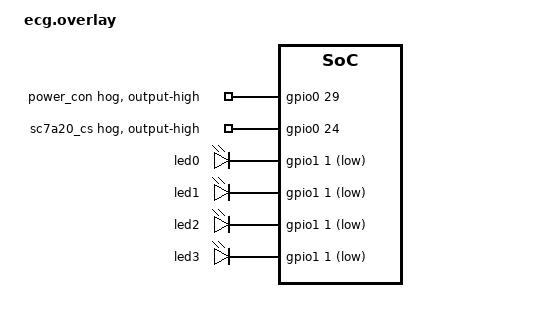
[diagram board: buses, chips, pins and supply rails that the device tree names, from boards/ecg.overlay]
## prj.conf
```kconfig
CONFIG_STDOUT_CONSOLE=y
CONFIG_FLASH=y
CONFIG_SPI=y

CONFIG_STDOUT_CONSOLE=y
CONFIG_I2C=y
CONFIG_GPIO=y
CONFIG_SENSOR=y
CONFIG_SENSOR_LOG_LEVEL_DBG=y

CONFIG_CLOCK_CONTROL_NRF_K32SRC_RC=y
# CONFIG_BT=y
#Logging
CONFIG_LOG=y
CONFIG_LOG_MODE_DEFERRED=y
CONFIG_LOG_RUNTIME_FILTERING=y
CONFIG_LOG_BUFFER_SIZE=2048
CONFIG_LOG_PROCESS_TRIGGER_THRESHOLD=0
CONFIG_LOG_PRINTK=y
CONFIG_LOG_TAG_MAX_LEN=8
CONFIG_GPIO_HOGS=y
CONFIG_GPIO_INIT_PRIORITY=38
CONFIG_GPIO_HOGS_INIT_PRIORITY=39

# CONFIG_FLASH_JESD216_API=y
```

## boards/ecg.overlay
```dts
&qspi_default {
	group1 {
		psels = <NRF_PSEL(QSPI_SCK, 0, 14)>,
				<NRF_PSEL(QSPI_IO0, 0, 15)>,
				<NRF_PSEL(QSPI_IO1, 0, 16)>,
				<NRF_PSEL(QSPI_IO2, 0, 19)>,
				<NRF_PSEL(QSPI_IO3, 0, 17)>,
				<NRF_PSEL(QSPI_CSN, 0, 13)>;
		nordic,drive-mode = <NRF_DRIVE_H0H1>;
	};
};
/delete-node/ &{/pin-controller/pwm0_sleep/group1/};

&qspi_sleep {
	group1 {
		psels = <NRF_PSEL(QSPI_SCK, 0, 14)>,
				<NRF_PSEL(QSPI_IO0, 0, 15)>,
				<NRF_PSEL(QSPI_IO1, 0, 16)>,
				<NRF_PSEL(QSPI_IO2, 0, 19)>,
				<NRF_PSEL(QSPI_IO3, 0, 17)>;
	};

	group2 {
		psels = <NRF_PSEL(QSPI_CSN, 0, 13)>;
	};
};

&gpio0 {
	status = "okay";
	power_con {
		gpio-hog;
		gpios = <29 GPIO_ACTIVE_HIGH>;
		output-high;
	};
	sc7a20_cs {
		gpio-hog;
		gpios = <24 GPIO_ACTIVE_HIGH>;
		output-high;
	};
};
&led0 {
	gpios = <&gpio1 1 GPIO_ACTIVE_LOW>;
};

&led1 {
	gpios = <&gpio1 1 GPIO_ACTIVE_LOW>;
};

&led2 {
	gpios = <&gpio1 1 GPIO_ACTIVE_LOW>;
};

&led3 {
	gpios = <&gpio1 1 GPIO_ACTIVE_LOW>;
};

&spi3_default {
	group1 {
		psels = <NRF_PSEL(SPIM_SCK, 1, 3)>,
				<NRF_PSEL(SPIM_MISO, 1, 4)>,
				<NRF_PSEL(SPIM_MOSI, 1, 2)>;
	};
};

&mx25r64 {
	address-size-32;
};

&mx25r64 {
	/delete-property/ address-size-32;
};

&mx25r64 {
	ppsize-512;
};

&mx25r64 {
	/delete-property/ ppsize-512;
};

&mx25r64 {
	cpha;
};

&mx25r64 {
	cpol;
};

&mx25r64 {
	address-size-32;
};

&mx25r64 {
	size = <5>;
};

&mx25r64 {
	size = <53>;
};

&mx25r64 {
	size = <536>;
};

&mx25r64 {
	size = <5368>;
};

&mx25r64 {
	size = <53687>;
};

&mx25r64 {
	size = <536870>;
};

&mx25r64 {
	size = <5368709>;
};

&mx25r64 {
	size = <53687091>;
};

&mx25r64 {
	size = <536870912>;
};
```

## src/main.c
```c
/*
 * Copyright (c) 2016 Intel Corporation.
 *
 * SPDX-License-Identifier: Apache-2.0
 */

#include <zephyr/kernel.h>
#include <zephyr/drivers/flash.h>
#include <zephyr/device.h>
#include <zephyr/devicetree.h>
#include <stdio.h>
#include <string.h>
#include <hal/nrf_gpio.h>
#include <hal/nrf_qspi.h>
// #include <drivers/flash/nrf_qspi_nor.h>
#if defined(CONFIG_BOARD_ADAFRUIT_FEATHER_STM32F405)
#define SPI_FLASH_TEST_REGION_OFFSET 0xf000
#elif defined(CONFIG_BOARD_ARTY_A7_DESIGNSTART_FPGA_CORTEX_M1) || \
	defined(CONFIG_BOARD_ARTY_A7_DESIGNSTART_FPGA_CORTEX_M3)
/* The FPGA bitstream is stored in the lower 536 sectors of the flash. */
#define SPI_FLASH_TEST_REGION_OFFSET \
	DT_REG_SIZE(DT_NODE_BY_FIXED_PARTITION_LABEL(fpga_bitstream))
#elif defined(CONFIG_BOARD_NPCX9M6F_EVB) || \
	defined(CONFIG_BOARD_NPCX7M6FB_EVB)
#define SPI_FLASH_TEST_REGION_OFFSET 0x7F000
#else
#define SPI_FLASH_TEST_REGION_OFFSET 0xff000
#endif
#define SPI_FLASH_SECTOR_SIZE        4096

#if defined(CONFIG_FLASH_STM32_OSPI) || defined(CONFIG_FLASH_STM32_QSPI)
#define SPI_FLASH_MULTI_SECTOR_TEST
#endif

void single_sector_test(const struct device *flash_dev)
{
	const uint8_t expected[] = { 0x55, 0xaa, 0x66, 0x99 };
	const size_t len = sizeof(expected);
	uint8_t buf[sizeof(expected)];
	int rc;

	printk("\nPerform test on single sector");
	/* Write protection needs to be disabled before each write or
	 * erase, since the flash component turns on write protection
	 * automatically after completion of write and erase
	 * operations.
	 */
	printk("\nTest 1: Flash erase\n");

	/* Full flash erase if SPI_FLASH_TEST_REGION_OFFSET = 0 and
	 * SPI_FLASH_SECTOR_SIZE = flash size
	 */
	rc = flash_erase(flash_dev, SPI_FLASH_TEST_REGION_OFFSET,
			 SPI_FLASH_SECTOR_SIZE);
	if (rc != 0) {
		printk("Flash erase failed! %d\n", rc);
	} else {
		printk("Flash erase succeeded!\n");
	}

	printk("\nTest 2: Flash write\n");

	printk("Attempting to write %zu bytes\n", len);
	rc = flash_write(flash_dev, SPI_FLASH_TEST_REGION_OFFSET, expected, len);
	if (rc != 0) {
		printk("Flash write failed! %d\n", rc);
		return;
	}

	memset(buf, 0, len);
	rc = flash_read(flash_dev, SPI_FLASH_TEST_REGION_OFFSET, buf, len);
	if (rc != 0) {
		printk("Flash read failed! %d\n", rc);
		return;
	}

	if (memcmp(expected, buf, len) == 0) {
		printk("Data read matches data written. Good!!\n");
	} else {
		const uint8_t *wp = expected;
		const uint8_t *rp = buf;
		const uint8_t *rpe = rp + len;

		printk("Data read does not match data written!!\n");
		while (rp < rpe) {
			printk("%08x wrote %02x read %02x %s\n",
			       (uint32_t)(SPI_FLASH_TEST_REGION_OFFSET + (rp - buf)),
			       *wp, *rp, (*rp == *wp) ? "match" : "MISMATCH");
			++rp;
			++wp;
		}
	}
}

#if defined SPI_FLASH_MULTI_SECTOR_TEST
void multi_sector_test(const struct device *flash_dev)
{
	const uint8_t expected[] = { 0x55, 0xaa, 0x66, 0x99 };
	const size_t len = sizeof(expected);
	uint8_t buf[sizeof(expected)];
	int rc;

	printk("\nPerform test on multiple consequtive sectors");

	/* Write protection needs to be disabled before each write or
	 * erase, since the flash component turns on write protection
	 * automatically after completion of write and erase
	 * operations.
	 */
	printk("\nTest 1: Flash erase\n");

	/* Full flash erase if SPI_FLASH_TEST_REGION_OFFSET = 0 and
	 * SPI_FLASH_SECTOR_SIZE = flash size
	 * Erase 2 sectors for check for erase of consequtive sectors
	 */
	rc = flash_erase(flash_dev, SPI_FLASH_TEST_REGION_OFFSET, SPI_FLASH_SECTOR_SIZE * 2);
	if (rc != 0) {
		printk("Flash erase failed! %d\n", rc);
	} else {
		/* Read the content and check for erased */
		memset(buf, 0, len);
		size_t offs = SPI_FLASH_TEST_REGION_OFFSET;

		while (offs < SPI_FLASH_TEST_REGION_OFFSET + 2 * SPI_FLASH_SECTOR_SIZE) {
			rc = flash_read(flash_dev, offs, buf, len);
			if (rc != 0) {
				printk("Flash read failed! %d\n", rc);
				return;
			}
			if (buf[0] != 0xff) {
				printk("Flash erase failed at offset 0x%x got 0x%x\n",
				offs, buf[0]);
				return;
			}
			offs += SPI_FLASH_SECTOR_SIZE;
		}
		printk("Flash erase succeeded!\n");
	}

	printk("\nTest 2: Flash write\n");

	size_t offs = SPI_FLASH_TEST_REGION_OFFSET;

	while (offs < SPI_FLASH_TEST_REGION_OFFSET + 2 * SPI_FLASH_SECTOR_SIZE) {
		printk("Attempting to write %zu bytes at offset 0x%x\n", len, offs);
		rc = flash_write(flash_dev, offs, expected, len);
		if (rc != 0) {
			printk("Flash write failed! %d\n", rc);
			return;
		}

		memset(buf, 0, len);
		rc = flash_read(flash_dev, offs, buf, len);
		if (rc != 0) {
			printk("Flash read failed! %d\n", rc);
			return;
		}

		if (memcmp(expected, buf, len) == 0) {
			printk("Data read matches data written. Good!!\n");
		} else {
			const uint8_t *wp = expected;
			const uint8_t *rp = buf;
			const uint8_t *rpe = rp + len;

			printk("Data read does not match data written!!\n");
			while (rp < rpe) {
				printk("%08x wrote %02x read %02x %s\n",
					(uint32_t)(offs + (rp - buf)),
					*wp, *rp, (*rp == *wp) ? "match" : "MISMATCH");
				++rp;
				++wp;
			}
		}
		offs += SPI_FLASH_SECTOR_SIZE;
	}
}
#endif

int main(void)
{
	const struct device *flash_dev = DEVICE_DT_GET(DT_ALIAS(spi_flash0));
	uint8_t jid[3] = {0}; 
	// int rd = qspi_read_jedec_id((flash_dev, jid));
	nrf_gpio_cfg_output(NRF_GPIO_PIN_MAP(0,21));
	nrf_gpio_pin_write(NRF_GPIO_PIN_MAP(0,21),0);
	nrf_gpio_cfg_output(NRF_GPIO_PIN_MAP(0,29));
	nrf_gpio_pin_write(NRF_GPIO_PIN_MAP(0,29),1);
	nrf_gpio_cfg_output(NRF_GPIO_PIN_MAP(0,24));
	nrf_gpio_pin_write(NRF_GPIO_PIN_MAP(0,24),1);
	if (!device_is_ready(flash_dev)) {
		printk("%s: device not ready.\n", flash_dev->name);
		// return 0;
	}

	printk("\n%s SPI flash testing\n", flash_dev->name);
	printk("==========================\n");

	single_sector_test(flash_dev);
#if defined SPI_FLASH_MULTI_SECTOR_TEST
	multi_sector_test(flash_dev);
#endif
	return 0;
}
```
